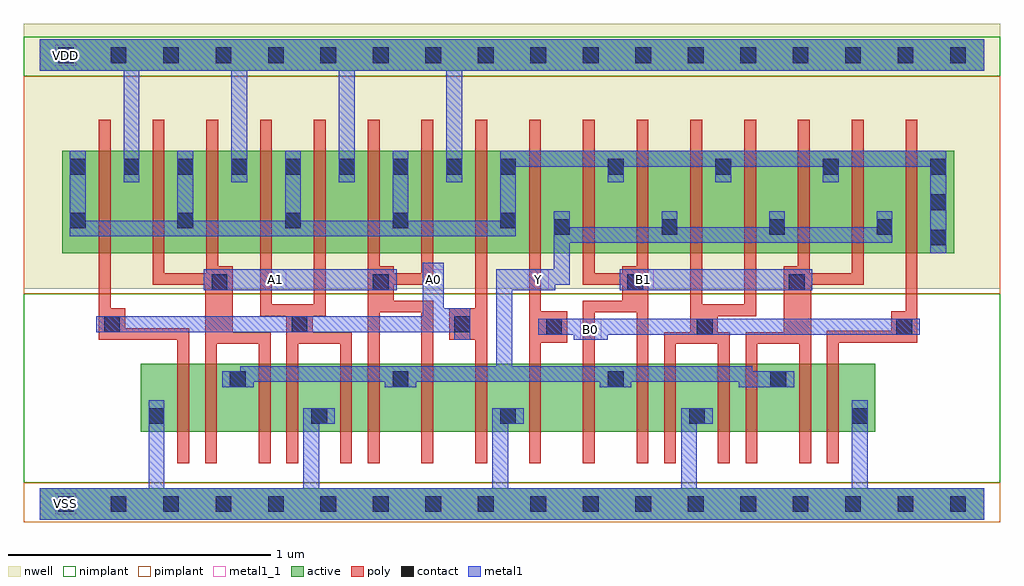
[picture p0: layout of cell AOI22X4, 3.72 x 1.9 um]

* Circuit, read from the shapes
.subckt AOI22X4 A0 A1 B0 B1 VDD VSS Y
M1 n1 A0 VSS VSS nfet w=0.26u l=0.045u
M2 Y A1 n1 VSS nfet w=0.26u l=0.045u
M3 n2 A1 Y VSS nfet w=0.26u l=0.045u
M4 VSS A0 n2 VSS nfet w=0.26u l=0.045u
M5 n3 A0 VSS VSS nfet w=0.26u l=0.045u
M6 Y A1 n3 VSS nfet w=0.26u l=0.045u
M7 n4 A1 Y VSS nfet w=0.26u l=0.045u
M8 VSS A0 n4 VSS nfet w=0.26u l=0.045u
M9 n5 B0 VSS VSS nfet w=0.26u l=0.045u
M10 Y B1 n5 VSS nfet w=0.26u l=0.045u
M11 n6 B1 Y VSS nfet w=0.26u l=0.045u
M12 VSS B0 n6 VSS nfet w=0.26u l=0.045u
M13 n7 B0 VSS VSS nfet w=0.26u l=0.045u
M14 Y B1 n7 VSS nfet w=0.26u l=0.045u
M15 n8 B1 Y VSS nfet w=0.26u l=0.045u
M16 VSS B0 n8 VSS nfet w=0.26u l=0.045u
M17 VDD A0 n9 VDD pfet w=0.39u l=0.045u m=4
M18 n9 A1 VDD VDD pfet w=0.39u l=0.045u m=4
M19 Y B0 n9 VDD pfet w=0.39u l=0.045u m=4
M20 n9 B1 Y VDD pfet w=0.39u l=0.045u m=4
.ends

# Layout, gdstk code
import gdstk
lib = gdstk.Library(unit=1e-6, precision=5e-10)
def R(c, l, rs):  # rectangles x0, y0, x1, y1
    for r in rs: c.add(gdstk.rectangle(r[:2], r[2:], *l))
def A(c, l, x, y, w, h, nx, ny, dx, dy):  # array of equal rectangles
    R(c, l, [(x+i*dx, y+j*dy, x+i*dx+w, y+j*dy+h) for i in range(nx) for j in range(ny)])
def P(c, l, *ps):  # polygons
    for p in ps: c.add(gdstk.Polygon(p, *l))
active = (1, 0)
nwell = (2, 0)
poly = (3, 0)
nimplant = (4, 0)
pimplant = (5, 0)
contact = (6, 0)
metal1 = (7, 0)
metal1_1 = (7, 1)

aoi22x4 = lib.new_cell('AOI22X4')
R(aoi22x4, active, [(0,-0.06,3.6,0.06), (0.385,0.275,3.185,0.535), (0.085,0.955,3.485,1.345), (0,1.65,3.6,1.77)])
R(aoi22x4, nwell, [(-0.06,0.82,3.66,1.83)])
P(aoi22x4, poly, [(0.225,1.465),(0.27,1.465),(0.27,0.745),(0.325,0.745),(0.325,0.67),(0.57,0.67),(0.57,0.155),(0.525,0.155),(0.525,0.625),(0.225,0.625)],
  [(0.43,1.465),(0.475,1.465),(0.475,0.88),(0.635,0.88),(0.635,1.465),(0.68,1.465),(0.68,0.905),(0.735,0.905),(0.735,0.655),(0.88,0.655),(0.88,0.155),(0.835,0.155),(0.835,0.61),(0.675,0.61),(0.675,0.155),(0.63,0.155),(0.63,0.835),(0.43,0.835)],
  [(0.84,1.465),(0.885,1.465),(0.885,0.76),(1.045,0.76),(1.045,1.465),(1.09,1.465),(1.09,0.715),(1.04,0.715),(1.04,0.655),(1.19,0.655),(1.19,0.155),(1.145,0.155),(1.145,0.61),(0.985,0.61),(0.985,0.155),(0.94,0.155),(0.94,0.715),(0.84,0.715)],
  [(1.25,1.465),(1.295,1.465),(1.295,0.905),(1.35,0.905),(1.35,0.88),(1.455,0.88),(1.455,1.465),(1.5,1.465),(1.5,0.835),(1.35,0.835),(1.35,0.775),(1.5,0.775),(1.5,0.155),(1.455,0.155),(1.455,0.73),(1.295,0.73),(1.295,0.155),(1.25,0.155)],
  [(1.66,1.465),(1.705,1.465),(1.705,0.155),(1.66,0.155),(1.66,0.625),(1.56,0.625),(1.56,0.745),(1.66,0.745)],
  [(1.865,1.465),(1.91,1.465),(1.91,0.735),(2.01,0.735),(2.01,0.615),(1.91,0.615),(1.91,0.155),(1.865,0.155)],
  [(2.07,1.465),(2.115,1.465),(2.115,0.88),(2.22,0.88),(2.22,0.905),(2.275,0.905),(2.275,1.465),(2.32,1.465),(2.32,0.155),(2.275,0.155),(2.275,0.73),(2.115,0.73),(2.115,0.155),(2.07,0.155),(2.07,0.775),(2.22,0.775),(2.22,0.835),(2.07,0.835)],
  [(2.48,1.465),(2.525,1.465),(2.525,0.76),(2.685,0.76),(2.685,1.465),(2.73,1.465),(2.73,0.715),(2.585,0.715),(2.585,0.655),(2.63,0.655),(2.63,0.155),(2.585,0.155),(2.585,0.61),(2.425,0.61),(2.425,0.155),(2.38,0.155),(2.38,0.655),(2.48,0.655)],
  [(2.89,1.465),(2.935,1.465),(2.935,0.88),(3.095,0.88),(3.095,1.465),(3.14,1.465),(3.14,0.835),(2.94,0.835),(2.94,0.155),(2.895,0.155),(2.895,0.61),(2.735,0.61),(2.735,0.155),(2.69,0.155),(2.69,0.655),(2.835,0.655),(2.835,0.905),(2.89,0.905)],
  [(3.3,1.465),(3.345,1.465),(3.345,0.615),(3.045,0.615),(3.045,0.155),(3,0.155),(3,0.66),(3.245,0.66),(3.245,0.735),(3.3,0.735)])
R(aoi22x4, nimplant, [(-0.06,0.08,3.66,0.8), (-0.06,1.63,3.66,1.78)])
R(aoi22x4, pimplant, [(-0.06,-0.07,3.66,0.08), (-0.06,0.8,3.66,1.63)])
A(aoi22x4, contact, 0.07, -0.03, 0.06, 0.06, 18, 2, 0.2, 1.71)
A(aoi22x4, contact, 1.035, 0.305, 0.06, 0.06, 3, 1, 0.72, 0)
A(aoi22x4, contact, 1.96, 1.025, 0.06, 0.06, 4, 1, 0.41, 0)
A(aoi22x4, contact, 0.115, 1.05, 0.06, 0.06, 5, 1, 0.41, 0)
A(aoi22x4, contact, 0.115, 1.255, 0.06, 0.06, 9, 1, 0.205, 0)
A(aoi22x4, contact, 2.165, 1.255, 0.06, 0.06, 4, 1, 0.41, 0)
R(aoi22x4, contact, [(0.415,0.305,0.475,0.365), (3.095,0.305,3.155,0.365), (0.725,0.445,0.785,0.505), (1.345,0.445,1.405,0.505), (2.165,0.445,2.225,0.505), (2.785,0.445,2.845,0.505), (1.93,0.645,1.99,0.705), (2.505,0.645,2.565,0.705), (3.265,0.645,3.325,0.705), (0.245,0.655,0.305,0.715), (0.96,0.655,1.02,0.715), (1.58,0.655,1.64,0.715), (0.655,0.815,0.715,0.875), (1.27,0.815,1.33,0.875), (2.24,0.815,2.3,0.875), (2.855,0.815,2.915,0.875), (3.395,0.985,3.455,1.045), (3.395,1.12,3.455,1.18)])
R(aoi22x4, metal1, [(0.625,0.815,1.36,0.895), (2.21,0.815,2.945,0.895)])
P(aoi22x4, metal1, [(0.415,0.395),(0.475,0.395),(0.475,0.06),(1.005,0.06),(1.005,0.365),(1.125,0.365),(1.125,0.305),(1.065,0.305),(1.065,0.06),(1.725,0.06),(1.725,0.365),(1.845,0.365),(1.845,0.305),(1.785,0.305),(1.785,0.06),(2.445,0.06),(2.445,0.365),(2.565,0.365),(2.565,0.305),(2.505,0.305),(2.505,0.06),(3.095,0.06),(3.095,0.395),(3.155,0.395),(3.155,0.06),(3.6,0.06),(3.6,-0.06),(0,-0.06),(0,0.06),(0.415,0.06)],
  [(0,1.77),(3.6,1.77),(3.6,1.65),(1.61,1.65),(1.61,1.225),(1.55,1.225),(1.55,1.65),(1.2,1.65),(1.2,1.225),(1.14,1.225),(1.14,1.65),(0.79,1.65),(0.79,1.225),(0.73,1.225),(0.73,1.65),(0.38,1.65),(0.38,1.225),(0.32,1.225),(0.32,1.65),(0,1.65)],
  [(0.115,1.345),(0.175,1.345),(0.175,1.08),(0.525,1.08),(0.525,1.345),(0.585,1.345),(0.585,1.08),(0.935,1.08),(0.935,1.345),(0.995,1.345),(0.995,1.08),(1.345,1.08),(1.345,1.345),(1.405,1.345),(1.405,1.08),(1.755,1.08),(1.755,1.345),(3.455,1.345),(3.455,0.955),(3.395,0.955),(3.395,1.285),(3.045,1.285),(3.045,1.225),(2.985,1.225),(2.985,1.285),(2.635,1.285),(2.635,1.225),(2.575,1.225),(2.575,1.285),(2.225,1.285),(2.225,1.225),(2.165,1.225),(2.165,1.285),(1.815,1.285),(1.815,1.02),(0.115,1.02)],
  [(1.96,1.115),(2.02,1.115),(2.02,1.055),(2.37,1.055),(2.37,1.115),(2.43,1.115),(2.43,1.055),(2.78,1.055),(2.78,1.115),(2.84,1.115),(2.84,1.055),(3.19,1.055),(3.19,1.115),(3.25,1.115),(3.25,0.995),(2.02,0.995),(2.02,0.835),(1.965,0.835),(1.965,0.815),(1.8,0.815),(1.8,0.525),(2.715,0.525),(2.715,0.505),(2.875,0.505),(2.875,0.445),(2.665,0.445),(2.665,0.465),(2.255,0.465),(2.255,0.445),(2.135,0.445),(2.135,0.465),(1.435,0.465),(1.435,0.445),(1.315,0.445),(1.315,0.465),(0.815,0.465),(0.815,0.445),(0.695,0.445),(0.695,0.505),(0.765,0.505),(0.765,0.525),(1.74,0.525),(1.74,0.895),(1.96,0.895)],
  [(1.46,0.92),(1.54,0.92),(1.54,0.745),(1.64,0.745),(1.64,0.625),(1.58,0.625),(1.58,0.655),(0.215,0.655),(0.215,0.715),(1.46,0.715)],
  [(1.9,0.705),(3.355,0.705),(3.355,0.645),(2.165,0.645),(2.165,0.625),(2.035,0.625),(2.035,0.645),(1.9,0.645)])
A(aoi22x4, metal1_1, 1.46, 0.815, 0.08, 0.08, 3, 1, 0.4, 0)
R(aoi22x4, metal1_1, [(0.06,-0.04,0.14,0.04), (2.06,0.625,2.14,0.705), (0.86,0.815,0.94,0.895), (0.06,1.67,0.14,1.75)])
aoi22x4.add(gdstk.Label('Y', (1.9,0.855), layer=7, texttype=1))
aoi22x4.add(gdstk.Label('B1', (2.3,0.855), layer=7, texttype=1))
aoi22x4.add(gdstk.Label('A1', (0.9,0.855), layer=7, texttype=1))
aoi22x4.add(gdstk.Label('A0', (1.5,0.855), layer=7, texttype=1))
aoi22x4.add(gdstk.Label('B0', (2.1,0.665), layer=7, texttype=1))
aoi22x4.add(gdstk.Label('VDD', (0.1,1.71), layer=7, texttype=1))
aoi22x4.add(gdstk.Label('VSS', (0.1,0), layer=7, texttype=1))
aoi22x4.add(gdstk.Label('AOI22X4', (0,0), layer=63, texttype=0))

lib.write_gds('AOI22X4.gds')
